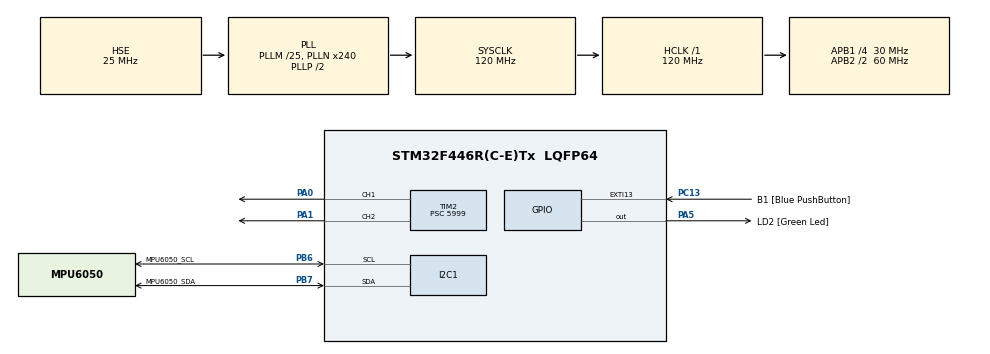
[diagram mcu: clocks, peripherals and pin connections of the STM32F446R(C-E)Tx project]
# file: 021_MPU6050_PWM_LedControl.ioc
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Mcu.Family=STM32F4
Mcu.Name=STM32F446R(C-E)Tx
Mcu.Package=LQFP64
NVIC.PriorityGroup=NVIC_PRIORITYGROUP_0
NVIC.TIM2_IRQn=true\:0\:0\:false\:false\:true\:true\:true\:true
PA0-WKUP.Signal=S_TIM2_CH1_ETR
PA1.Signal=S_TIM2_CH2
PA13.GPIO_Label=TMS
PA13.Signal=SYS_JTMS-SWDIO
PA14.GPIO_Label=TCK
PA14.Signal=SYS_JTCK-SWCLK
PA2.GPIO_Label=USART_TX
PA2.Signal=USART2_TX
PA3.GPIO_Label=USART_RX
PA3.Signal=USART2_RX
PA5.GPIO_Label=LD2 [Green Led]
PA5.Signal=GPIO_Output
PB3.GPIO_Label=SWO
PB3.Signal=SYS_JTDO-SWO
PB6.GPIO_Label=MPU6050_SCL
PB6.Mode=I2C
PB6.Signal=I2C1_SCL
PB7.GPIO_Label=MPU6050_SDA
PB7.Mode=I2C
PB7.Signal=I2C1_SDA
PC13.GPIO_Label=B1 [Blue PushButton]
PC13.GPIO_ModeDefaultEXTI=GPIO_MODE_IT_FALLING
PC13.Signal=GPXTI13
PC14-OSC32_IN.Signal=RCC_OSC32_IN
PC15-OSC32_OUT.Signal=RCC_OSC32_OUT
PH0-OSC_IN.Mode=HSE-External-Oscillator
PH0-OSC_IN.Signal=RCC_OSC_IN
PH1-OSC_OUT.Mode=HSE-External-Oscillator
PH1-OSC_OUT.Signal=RCC_OSC_OUT
ProjectManager.HeapSize=0x200
ProjectManager.StackSize=0x400
ProjectManager.TargetToolchain=STM32CubeIDE
RCC.AHBFreq_Value=120000000
RCC.APB1CLKDivider=RCC_HCLK_DIV4
RCC.APB1Freq_Value=30000000
RCC.APB1TimFreq_Value=60000000
RCC.APB2CLKDivider=RCC_HCLK_DIV2
RCC.APB2Freq_Value=60000000
RCC.APB2TimFreq_Value=120000000
RCC.CortexFreq_Value=120000000
RCC.FLatency-AdvancedSettings=FLASH_LATENCY_3
RCC.HCLKFreq_Value=120000000
RCC.HSE_VALUE=25000000
RCC.HSI_VALUE=16000000
RCC.LSE_VALUE=32768
RCC.PLLM=25
RCC.PLLN=240
RCC.PLLSourceVirtual=RCC_PLLSOURCE_HSE
RCC.SYSCLKFreq_VALUE=120000000
RCC.SYSCLKSource=RCC_SYSCLKSOURCE_PLLCLK
RCC.USBFreq_Value=120000000
RCC.VCOOutputFreq_Value=240000000
SH.S_TIM2_CH1_ETR.0=TIM2_CH1,PWM Generation1 CH1
SH.S_TIM2_CH2.0=TIM2_CH2,PWM Generation2 CH2
TIM2.Channel-PWM\ Generation1\ CH1=TIM_CHANNEL_1
TIM2.Channel-PWM\ Generation2\ CH2=TIM_CHANNEL_2
TIM2.Period=19999
TIM2.Prescaler=5999
TIM2.Pulse-PWM\ Generation1\ CH1=2000
TIM2.Pulse-PWM\ Generation2\ CH2=8
TIM2.TIM_MasterOutputTrigger=TIM_TRGO_UPDATE
VP_TIM2_VS_ClockSourceINT.Mode=Internal
board=NUCLEO-F446RE

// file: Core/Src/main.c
/* USER CODE BEGIN Header */
/**
  ******************************************************************************
  * @file           : main.c
  * @brief          : Main program body
  ******************************************************************************
  * @attention
  *
  * Copyright (c) 2026 STMicroelectronics.
  * All rights reserved.
  *
  * This software is licensed under terms that can be found in the LICENSE file
  * in the root directory of this software component.
  * If no LICENSE file comes with this software, it is provided AS-IS.
  *
  ******************************************************************************
  */
/* USER CODE END Header */
#include "main.h"

/* USER CODE BEGIN Includes */
#include "mpu6050.h"
#include "math.h"
#include "kalman_filter.h"
/* USER CODE END Includes */

I2C_HandleTypeDef hi2c1;

TIM_HandleTypeDef htim2;

/* USER CODE BEGIN PV */
uint32_t g_counter=0;
volatile uint32_t g_channel_1_state=8000;
volatile uint32_t g_channel_2_state=4000;

acceleratometer_data_t accel_data1;
const acceleratometer_data_t error_offset={
		.x=250,
		.y=100,
		.z=-150,
};

float roll_angle;
int16_t kalman_roll_angle;
/* USER CODE END PV */

void SystemClock_Config(void);
static void MX_GPIO_Init(void);
static void MX_I2C1_Init(void);
static void MX_TIM2_Init(void);

/* USER CODE BEGIN 0 */
#define PWM_PULSE_MIN   0
#define PWM_PULSE_MAX   19999

#define ANGLE_POS_MIN   0
#define ANGLE_POS_MAX   90

// Map function: re-maps a number from one range to another
long map(long x, long in_min, long in_max, long out_min, long out_max) {
    // Perform  mapping
    long result = (x - in_min) * (out_max - out_min) / (in_max - in_min) + out_min;

    // Clamp the result to the output range
    if (result > out_max) {
        result = out_max;
    } else if (result < out_min) {
        result = out_min;
    }

    return result;
}

void change_pwm_duty_cycle(uint32_t pwm_pulse, uint8_t timer_channel)
{
	__HAL_TIM_SET_COMPARE(&htim2, timer_channel, pwm_pulse);
}

/* USER CODE END 0 */

int main(void)
{

  /* USER CODE BEGIN 1 */
	float dt=0;
  /* USER CODE END 1 */

  /* MCU Configuration--------------------------------------------------------*/

  /* Reset of all peripherals, Initializes the Flash interface and the Systick. */
  HAL_Init();

  /* Configure the system clock */
  SystemClock_Config();

  /* Initialize all configured peripherals */
  MX_GPIO_Init();
  MX_I2C1_Init();
  MX_TIM2_Init();
  /* USER CODE BEGIN 2 */
  //pb6--> scl
  //pb7--> sda

  KalmanFilter kf_var;
  kalman_filter_init(&kf_var);
  HAL_Delay(100);

  if(mpu6050_init(&hi2c1,0x68)!=MPU6050_OK)
	  Error_Handler();

  if(mpu6050_config_low_pass_filter(&hi2c1,DLPF_CFG_21HZ) != MPU6050_OK)
	  Error_Handler();

  __HAL_TIM_ENABLE_IT(&htim2, TIM_IT_UPDATE);
  if(HAL_TIM_PWM_Start_IT(&htim2, TIM_CHANNEL_1)!=HAL_OK)
	  Error_Handler();
  if(HAL_TIM_PWM_Start_IT(&htim2, TIM_CHANNEL_2)!=HAL_OK)
	  Error_Handler();

  uint32_t previous_tick=HAL_GetTick();
  /* USER CODE END 2 */

  /* Infinite loop */
  while (1)
  {

    /* USER CODE BEGIN 3 */
	  //g_counter = __HAL_TIM_GET_COUNTER(&htim2);
	  uint32_t current_tick=HAL_GetTick();
	  dt=(current_tick-previous_tick)/1000.0f;
	  previous_tick=current_tick;

	  if(mpu6050_read_accelerometer_data(&hi2c1, mpu6050_i2c_addr, &accel_data1)!=MPU6050_OK)
		  Error_Handler();

	  accel_data1=mpu6050_accelerometer_calibration(&error_offset, &accel_data1);

	  roll_angle=atan2(accel_data1.y,accel_data1.z)*(180.0/M_PI);

	  kalman_roll_angle=kalman_filter_get_angle(&kf_var, roll_angle, dt);

	  uint8_t channel=(kalman_roll_angle<0)?TIM_CHANNEL_1:TIM_CHANNEL_2;

	  kalman_roll_angle=(kalman_roll_angle<0)?(-kalman_roll_angle):(kalman_roll_angle);

	  uint32_t pwm_pulse=map(kalman_roll_angle, ANGLE_POS_MIN, ANGLE_POS_MAX, \
			  PWM_PULSE_MIN, PWM_PULSE_MAX);

	  change_pwm_duty_cycle(pwm_pulse, channel);

	  //HAL_Delay(500);
  }
  /* USER CODE END 3 */
}

void SystemClock_Config(void)
{
  RCC_OscInitTypeDef RCC_OscInitStruct = {0};
  RCC_ClkInitTypeDef RCC_ClkInitStruct = {0};

  /** Configure the main internal regulator output voltage
  */
  __HAL_RCC_PWR_CLK_ENABLE();
  __HAL_PWR_VOLTAGESCALING_CONFIG(PWR_REGULATOR_VOLTAGE_SCALE3);

  /** Initializes the RCC Oscillators according to the specified parameters
  * in the RCC_OscInitTypeDef structure.
  */
  RCC_OscInitStruct.OscillatorType = RCC_OSCILLATORTYPE_HSE;
  RCC_OscInitStruct.HSEState = RCC_HSE_ON;
  RCC_OscInitStruct.PLL.PLLState = RCC_PLL_ON;
  RCC_OscInitStruct.PLL.PLLSource = RCC_PLLSOURCE_HSE;
  RCC_OscInitStruct.PLL.PLLM = 25;
  RCC_OscInitStruct.PLL.PLLN = 240;
  RCC_OscInitStruct.PLL.PLLP = RCC_PLLP_DIV2;
  RCC_OscInitStruct.PLL.PLLQ = 2;
  RCC_OscInitStruct.PLL.PLLR = 2;
  if (HAL_RCC_OscConfig(&RCC_OscInitStruct) != HAL_OK)
  {
    Error_Handler();
  }

  /** Initializes the CPU, AHB and APB buses clocks
  */
  RCC_ClkInitStruct.ClockType = RCC_CLOCKTYPE_HCLK|RCC_CLOCKTYPE_SYSCLK
                              |RCC_CLOCKTYPE_PCLK1|RCC_CLOCKTYPE_PCLK2;
  RCC_ClkInitStruct.SYSCLKSource = RCC_SYSCLKSOURCE_PLLCLK;
  RCC_ClkInitStruct.AHBCLKDivider = RCC_SYSCLK_DIV1;
  RCC_ClkInitStruct.APB1CLKDivider = RCC_HCLK_DIV4;
  RCC_ClkInitStruct.APB2CLKDivider = RCC_HCLK_DIV2;

  if (HAL_RCC_ClockConfig(&RCC_ClkInitStruct, FLASH_LATENCY_3) != HAL_OK)
  {
    Error_Handler();
  }
}

static void MX_I2C1_Init(void)
{

  hi2c1.Instance = I2C1;
  hi2c1.Init.ClockSpeed = 100000;
  hi2c1.Init.DutyCycle = I2C_DUTYCYCLE_2;
  hi2c1.Init.OwnAddress1 = 0;
  hi2c1.Init.AddressingMode = I2C_ADDRESSINGMODE_7BIT;
  hi2c1.Init.DualAddressMode = I2C_DUALADDRESS_DISABLE;
  hi2c1.Init.OwnAddress2 = 0;
  hi2c1.Init.GeneralCallMode = I2C_GENERALCALL_DISABLE;
  hi2c1.Init.NoStretchMode = I2C_NOSTRETCH_DISABLE;
  if (HAL_I2C_Init(&hi2c1) != HAL_OK)
  {
    Error_Handler();
  }

}

static void MX_TIM2_Init(void)
{

  TIM_ClockConfigTypeDef sClockSourceConfig = {0};
  TIM_MasterConfigTypeDef sMasterConfig = {0};
  TIM_OC_InitTypeDef sConfigOC = {0};

  htim2.Instance = TIM2;
  htim2.Init.Prescaler = 5999;
  htim2.Init.CounterMode = TIM_COUNTERMODE_UP;
  htim2.Init.Period = 19999;
  htim2.Init.ClockDivision = TIM_CLOCKDIVISION_DIV1;
  htim2.Init.AutoReloadPreload = TIM_AUTORELOAD_PRELOAD_DISABLE;
  if (HAL_TIM_Base_Init(&htim2) != HAL_OK)
  {
    Error_Handler();
  }
  sClockSourceConfig.ClockSource = TIM_CLOCKSOURCE_INTERNAL;
  if (HAL_TIM_ConfigClockSource(&htim2, &sClockSourceConfig) != HAL_OK)
  {
    Error_Handler();
  }
  if (HAL_TIM_PWM_Init(&htim2) != HAL_OK)
  {
    Error_Handler();
  }
  sMasterConfig.MasterOutputTrigger = TIM_TRGO_UPDATE;
  sMasterConfig.MasterSlaveMode = TIM_MASTERSLAVEMODE_DISABLE;
  if (HAL_TIMEx_MasterConfigSynchronization(&htim2, &sMasterConfig) != HAL_OK)
  {
    Error_Handler();
  }
  sConfigOC.OCMode = TIM_OCMODE_PWM1;
  sConfigOC.Pulse = 8000;
  sConfigOC.OCPolarity = TIM_OCPOLARITY_HIGH;
  sConfigOC.OCFastMode = TIM_OCFAST_DISABLE;
  if (HAL_TIM_PWM_ConfigChannel(&htim2, &sConfigOC, TIM_CHANNEL_1) != HAL_OK)
  {
    Error_Handler();
  }
  sConfigOC.Pulse = 4000;
  if (HAL_TIM_PWM_ConfigChannel(&htim2, &sConfigOC, TIM_CHANNEL_2) != HAL_OK)
  {
    Error_Handler();
  }
  HAL_TIM_MspPostInit(&htim2);

}

static void MX_GPIO_Init(void)
{
  GPIO_InitTypeDef GPIO_InitStruct = {0};

  /* GPIO Ports Clock Enable */
  __HAL_RCC_GPIOC_CLK_ENABLE();
  __HAL_RCC_GPIOH_CLK_ENABLE();
  __HAL_RCC_GPIOA_CLK_ENABLE();
  __HAL_RCC_GPIOB_CLK_ENABLE();

  /*Configure GPIO pin Output Level */
  HAL_GPIO_WritePin(LD2_GPIO_Port, LD2_Pin, GPIO_PIN_RESET);

  /*Configure GPIO pin : B1_Pin */
  GPIO_InitStruct.Pin = B1_Pin;
  GPIO_InitStruct.Mode = GPIO_MODE_IT_FALLING;
  GPIO_InitStruct.Pull = GPIO_NOPULL;
  HAL_GPIO_Init(B1_GPIO_Port, &GPIO_InitStruct);

  /*Configure GPIO pins : USART_TX_Pin USART_RX_Pin */
  GPIO_InitStruct.Pin = USART_TX_Pin|USART_RX_Pin;
  GPIO_InitStruct.Mode = GPIO_MODE_AF_PP;
  GPIO_InitStruct.Pull = GPIO_NOPULL;
  GPIO_InitStruct.Speed = GPIO_SPEED_FREQ_VERY_HIGH;
  GPIO_InitStruct.Alternate = GPIO_AF7_USART2;
  HAL_GPIO_Init(GPIOA, &GPIO_InitStruct);

  /*Configure GPIO pin : LD2_Pin */
  GPIO_InitStruct.Pin = LD2_Pin;
  GPIO_InitStruct.Mode = GPIO_MODE_OUTPUT_PP;
  GPIO_InitStruct.Pull = GPIO_NOPULL;
  GPIO_InitStruct.Speed = GPIO_SPEED_FREQ_LOW;
  HAL_GPIO_Init(LD2_GPIO_Port, &GPIO_InitStruct);

}

void Error_Handler(void)
{
  __disable_irq();
  while (1)
  {
  }
}
